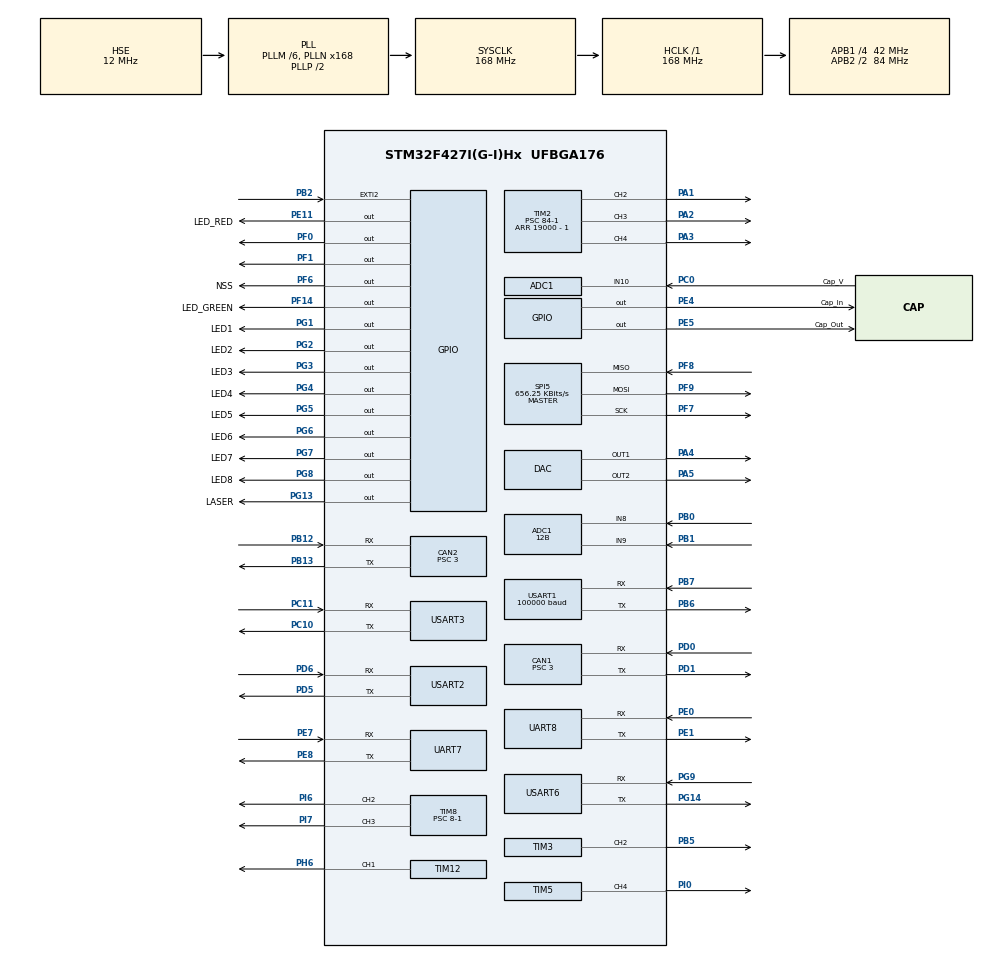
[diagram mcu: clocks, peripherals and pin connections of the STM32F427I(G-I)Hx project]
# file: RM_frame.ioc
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ADC1.Channel-0\#ChannelRegularConversion=ADC_CHANNEL_VREFINT
ADC1.Channel-1\#ChannelRegularConversion=ADC_CHANNEL_8
ADC1.Channel-2\#ChannelRegularConversion=ADC_CHANNEL_9
ADC1.Channel-3\#ChannelRegularConversion=ADC_CHANNEL_10
ADC1.ClockPrescaler=ADC_CLOCK_SYNC_PCLK_DIV4
ADC1.ContinuousConvMode=ENABLE
ADC1.DMAContinuousRequests=ENABLE
ADC1.DataAlign=ADC_DATAALIGN_RIGHT
ADC1.DiscontinuousConvMode=DISABLE
ADC1.EOCSelection=ADC_EOC_SINGLE_CONV
ADC1.EnableAnalogWatchDog=false
ADC1.ExternalTrigConv=ADC_SOFTWARE_START
ADC1.ExternalTrigConvEdge=ADC_EXTERNALTRIGCONVEDGE_NONE
ADC1.InjNumberOfConversion=0
ADC1.NbrOfConversion=4
ADC1.NbrOfConversionFlag=1
ADC1.Rank-0\#ChannelRegularConversion=1
ADC1.Rank-1\#ChannelRegularConversion=2
ADC1.Rank-2\#ChannelRegularConversion=3
ADC1.Rank-3\#ChannelRegularConversion=4
ADC1.Resolution=ADC_RESOLUTION_12B
ADC1.SamplingTime-0\#ChannelRegularConversion=ADC_SAMPLETIME_56CYCLES
ADC1.SamplingTime-1\#ChannelRegularConversion=ADC_SAMPLETIME_56CYCLES
ADC1.SamplingTime-2\#ChannelRegularConversion=ADC_SAMPLETIME_56CYCLES
ADC1.SamplingTime-3\#ChannelRegularConversion=ADC_SAMPLETIME_56CYCLES
ADC1.ScanConvMode=ENABLE
ADC1.master=1
CAN1.BS1=CAN_BS1_9TQ
CAN1.BS2=CAN_BS2_4TQ
CAN1.CalculateTimeBit=1000
CAN1.CalculateTimeQuantum=71.42857142857143
CAN1.Prescaler=3
CAN2.BS1=CAN_BS1_9TQ
CAN2.BS2=CAN_BS2_4TQ
CAN2.CalculateTimeBit=1000
CAN2.CalculateTimeQuantum=71.42857142857143
CAN2.Prescaler=3
Dma.ADC1.8.Direction=DMA_PERIPH_TO_MEMORY
Dma.ADC1.8.FIFOMode=DMA_FIFOMODE_DISABLE
Dma.ADC1.8.Instance=DMA2_Stream0
Dma.ADC1.8.MemDataAlignment=DMA_MDATAALIGN_HALFWORD
Dma.ADC1.8.MemInc=DMA_MINC_ENABLE
Dma.ADC1.8.Mode=DMA_CIRCULAR
Dma.ADC1.8.PeriphDataAlignment=DMA_PDATAALIGN_HALFWORD
Dma.ADC1.8.PeriphInc=DMA_PINC_DISABLE
Dma.ADC1.8.Priority=DMA_PRIORITY_LOW
Dma.Request0=USART3_RX
Dma.Request1=USART2_RX
Dma.Request2=UART7_RX
Dma.Request3=UART8_RX
Dma.Request4=UART8_TX
Dma.Request5=USART6_RX
Dma.Request6=USART6_TX
Dma.Request7=USART1_RX
Dma.Request8=ADC1
Dma.UART7_RX.2.Direction=DMA_PERIPH_TO_MEMORY
Dma.UART7_RX.2.FIFOMode=DMA_FIFOMODE_DISABLE
Dma.UART7_RX.2.Instance=DMA1_Stream3
Dma.UART7_RX.2.MemDataAlignment=DMA_MDATAALIGN_BYTE
Dma.UART7_RX.2.MemInc=DMA_MINC_ENABLE
Dma.UART7_RX.2.Mode=DMA_NORMAL
Dma.UART7_RX.2.PeriphDataAlignment=DMA_PDATAALIGN_BYTE
Dma.UART7_RX.2.PeriphInc=DMA_PINC_DISABLE
Dma.UART7_RX.2.Priority=DMA_PRIORITY_LOW
Dma.UART8_RX.3.Direction=DMA_PERIPH_TO_MEMORY
Dma.UART8_RX.3.FIFOMode=DMA_FIFOMODE_DISABLE
Dma.UART8_RX.3.Instance=DMA1_Stream6
Dma.UART8_RX.3.MemDataAlignment=DMA_MDATAALIGN_BYTE
Dma.UART8_RX.3.MemInc=DMA_MINC_ENABLE
Dma.UART8_RX.3.Mode=DMA_NORMAL
Dma.UART8_RX.3.PeriphDataAlignment=DMA_PDATAALIGN_BYTE
Dma.UART8_RX.3.PeriphInc=DMA_PINC_DISABLE
Dma.UART8_RX.3.Priority=DMA_PRIORITY_LOW
Dma.UART8_TX.4.Direction=DMA_MEMORY_TO_PERIPH
Dma.UART8_TX.4.FIFOMode=DMA_FIFOMODE_DISABLE
Dma.UART8_TX.4.Instance=DMA1_Stream0
Dma.UART8_TX.4.MemDataAlignment=DMA_MDATAALIGN_BYTE
Dma.UART8_TX.4.MemInc=DMA_MINC_ENABLE
Dma.UART8_TX.4.Mode=DMA_NORMAL
Dma.UART8_TX.4.PeriphDataAlignment=DMA_PDATAALIGN_BYTE
Dma.UART8_TX.4.PeriphInc=DMA_PINC_DISABLE
Dma.UART8_TX.4.Priority=DMA_PRIORITY_LOW
Dma.USART1_RX.7.Direction=DMA_PERIPH_TO_MEMORY
Dma.USART1_RX.7.FIFOMode=DMA_FIFOMODE_DISABLE
Dma.USART1_RX.7.Instance=DMA2_Stream2
Dma.USART1_RX.7.MemDataAlignment=DMA_MDATAALIGN_BYTE
Dma.USART1_RX.7.MemInc=DMA_MINC_ENABLE
Dma.USART1_RX.7.Mode=DMA_NORMAL
Dma.USART1_RX.7.PeriphDataAlignment=DMA_PDATAALIGN_BYTE
Dma.USART1_RX.7.PeriphInc=DMA_PINC_DISABLE
Dma.USART1_RX.7.Priority=DMA_PRIORITY_LOW
Dma.USART2_RX.1.Direction=DMA_PERIPH_TO_MEMORY
Dma.USART2_RX.1.FIFOMode=DMA_FIFOMODE_DISABLE
Dma.USART2_RX.1.Instance=DMA1_Stream5
Dma.USART2_RX.1.MemDataAlignment=DMA_MDATAALIGN_BYTE
Dma.USART2_RX.1.MemInc=DMA_MINC_ENABLE
Dma.USART2_RX.1.Mode=DMA_NORMAL
Dma.USART2_RX.1.PeriphDataAlignment=DMA_PDATAALIGN_BYTE
Dma.USART2_RX.1.PeriphInc=DMA_PINC_DISABLE
Dma.USART2_RX.1.Priority=DMA_PRIORITY_LOW
Dma.USART3_RX.0.Direction=DMA_PERIPH_TO_MEMORY
Dma.USART3_RX.0.FIFOMode=DMA_FIFOMODE_DISABLE
Dma.USART3_RX.0.Instance=DMA1_Stream1
Dma.USART3_RX.0.MemDataAlignment=DMA_MDATAALIGN_BYTE
Dma.USART3_RX.0.MemInc=DMA_MINC_ENABLE
Dma.USART3_RX.0.Mode=DMA_NORMAL
Dma.USART3_RX.0.PeriphDataAlignment=DMA_PDATAALIGN_BYTE
Dma.USART3_RX.0.PeriphInc=DMA_PINC_DISABLE
Dma.USART3_RX.0.Priority=DMA_PRIORITY_LOW
Dma.USART6_RX.5.Direction=DMA_PERIPH_TO_MEMORY
Dma.USART6_RX.5.FIFOMode=DMA_FIFOMODE_DISABLE
Dma.USART6_RX.5.Instance=DMA2_Stream1
Dma.USART6_RX.5.MemDataAlignment=DMA_MDATAALIGN_BYTE
Dma.USART6_RX.5.MemInc=DMA_MINC_ENABLE
Dma.USART6_RX.5.Mode=DMA_NORMAL
Dma.USART6_RX.5.PeriphDataAlignment=DMA_PDATAALIGN_BYTE
Dma.USART6_RX.5.PeriphInc=DMA_PINC_DISABLE
Dma.USART6_RX.5.Priority=DMA_PRIORITY_LOW
Dma.USART6_TX.6.Direction=DMA_MEMORY_TO_PERIPH
Dma.USART6_TX.6.FIFOMode=DMA_FIFOMODE_DISABLE
Dma.USART6_TX.6.Instance=DMA2_Stream6
Dma.USART6_TX.6.MemDataAlignment=DMA_MDATAALIGN_BYTE
Dma.USART6_TX.6.MemInc=DMA_MINC_ENABLE
Dma.USART6_TX.6.Mode=DMA_NORMAL
Dma.USART6_TX.6.PeriphDataAlignment=DMA_PDATAALIGN_BYTE
Dma.USART6_TX.6.PeriphInc=DMA_PINC_DISABLE
Dma.USART6_TX.6.Priority=DMA_PRIORITY_LOW
IWDG.Prescaler=IWDG_PRESCALER_32
IWDG.Reload=300
Mcu.Family=STM32F4
Mcu.Name=STM32F427I(G-I)Hx
Mcu.Package=UFBGA176
NVIC.CAN1_RX0_IRQn=true\:0\:0\:true\:false\:true\:true
NVIC.CAN1_TX_IRQn=true\:0\:0\:true\:false\:true\:true
NVIC.CAN2_RX0_IRQn=true\:1\:0\:true\:false\:true\:true
NVIC.CAN2_TX_IRQn=true\:2\:0\:true\:false\:true\:true
NVIC.DMA1_Stream0_IRQn=true\:0\:0\:false\:false\:true\:false
NVIC.DMA1_Stream1_IRQn=true\:0\:0\:false\:false\:true\:false
NVIC.DMA1_Stream3_IRQn=true\:0\:0\:false\:false\:true\:false
NVIC.DMA1_Stream5_IRQn=true\:0\:0\:false\:false\:true\:false
NVIC.DMA1_Stream6_IRQn=true\:0\:0\:false\:false\:true\:false
NVIC.DMA2_Stream0_IRQn=true\:0\:0\:false\:false\:true\:false
NVIC.DMA2_Stream1_IRQn=true\:0\:0\:false\:false\:true\:false
NVIC.DMA2_Stream2_IRQn=true\:0\:0\:false\:false\:true\:false
NVIC.DMA2_Stream6_IRQn=true\:0\:0\:false\:false\:true\:false
NVIC.EXTI2_IRQn=true\:0\:0\:false\:false\:true\:true
NVIC.PriorityGroup=NVIC_PRIORITYGROUP_4
NVIC.TIM1_UP_TIM10_IRQn=true\:4\:0\:true\:false\:true\:true
NVIC.TIM6_DAC_IRQn=true\:3\:0\:true\:false\:true\:true
NVIC.TIM7_IRQn=true\:0\:0\:true\:false\:true\:true
NVIC.UART7_IRQn=true\:4\:0\:true\:false\:true\:true
NVIC.UART8_IRQn=true\:4\:0\:true\:false\:true\:true
NVIC.USART1_IRQn=true\:0\:0\:true\:false\:true\:true
NVIC.USART2_IRQn=true\:0\:0\:false\:false\:true\:true
NVIC.USART3_IRQn=true\:0\:0\:false\:false\:true\:true
NVIC.USART6_IRQn=true\:1\:0\:true\:false\:true\:true
PA1.Signal=S_TIM2_CH2
PA2.Signal=S_TIM2_CH3
PA3.Signal=S_TIM2_CH4
PA4.Signal=COMP_DAC1_group
PA5.Signal=COMP_DAC2_group
PB0.Signal=ADCx_IN8
PB1.Signal=ADCx_IN9
PB12.Mode=Slave
PB12.Signal=CAN2_RX
PB13.Mode=Slave
PB13.Signal=CAN2_TX
PB2/BOOT1.Signal=GPXTI2
PB5.Signal=S_TIM3_CH2
PB6.Mode=Asynchronous
PB6.Signal=USART1_TX
PB7.Mode=Asynchronous
PB7.Signal=USART1_RX
PC0.GPIO_Label=Cap_V
PC0.Signal=ADCx_IN10
PC10.Mode=Asynchronous
PC10.Signal=USART3_TX
PC11.Mode=Asynchronous
PC11.Signal=USART3_RX
PC14/OSC32_IN.Mode=LSE-External-Oscillator
PC14/OSC32_IN.Signal=RCC_OSC32_IN
PC15/OSC32_OUT.Mode=LSE-External-Oscillator
PC15/OSC32_OUT.Signal=RCC_OSC32_OUT
PD0.Mode=Master
PD0.Signal=CAN1_RX
PD1.Mode=Master
PD1.Signal=CAN1_TX
PD5.Mode=Asynchronous
PD5.Signal=USART2_TX
PD6.Mode=Asynchronous
PD6.Signal=USART2_RX
PE0.Mode=Asynchronous
PE0.Signal=UART8_RX
PE1.Mode=Asynchronous
PE1.Signal=UART8_TX
PE11.GPIO_Label=LED_RED
PE11.Signal=GPIO_Output
PE4.GPIO_Label=Cap_In
PE4.GPIO_PuPd=GPIO_PULLDOWN
PE4.GPIO_Speed=GPIO_SPEED_FREQ_LOW
PE4.PinState=GPIO_PIN_RESET
PE4.Signal=GPIO_Output
PE5.GPIO_Label=Cap_Out
PE5.Signal=GPIO_Output
PE7.Mode=Asynchronous
PE7.Signal=UART7_RX
PE8.Mode=Asynchronous
PE8.Signal=UART7_TX
PF0.Signal=GPIO_Output
PF1.GPIO_PuPd=GPIO_NOPULL
PF1.PinState=GPIO_PIN_SET
PF1.Signal=GPIO_Output
PF14.GPIO_Label=LED_GREEN
PF14.Signal=GPIO_Output
PF6.GPIO_Label=NSS
PF6.Signal=GPIO_Output
PF7.Mode=Full_Duplex_Master
PF7.Signal=SPI5_SCK
PF8.Mode=Full_Duplex_Master
PF8.Signal=SPI5_MISO
PF9.Mode=Full_Duplex_Master
PF9.Signal=SPI5_MOSI
PG1.GPIO_Label=LED1
PG1.Signal=GPIO_Output
PG13.GPIO_Label=LASER
PG13.Signal=GPIO_Output
PG14.Mode=Asynchronous
PG14.Signal=USART6_TX
PG2.GPIO_Label=LED2
PG2.Signal=GPIO_Output
PG3.GPIO_Label=LED3
PG3.Signal=GPIO_Output
PG4.GPIO_Label=LED4
PG4.Signal=GPIO_Output
PG5.GPIO_Label=LED5
PG5.Signal=GPIO_Output
PG6.GPIO_Label=LED6
PG6.Signal=GPIO_Output
PG7.GPIO_Label=LED7
PG7.Signal=GPIO_Output
PG8.GPIO_Label=LED8
PG8.Signal=GPIO_Output
PG9.Mode=Asynchronous
PG9.Signal=USART6_RX
PH0/OSC_IN.Mode=HSE-External-Oscillator
PH0/OSC_IN.Signal=RCC_OSC_IN
PH1/OSC_OUT.Mode=HSE-External-Oscillator
PH1/OSC_OUT.Signal=RCC_OSC_OUT
PH6.Signal=S_TIM12_CH1
PI0.Signal=S_TIM5_CH4
PI6.Signal=S_TIM8_CH2
PI7.Signal=S_TIM8_CH3
ProjectManager.HeapSize=0x200
ProjectManager.StackSize=0x400
ProjectManager.TargetToolchain=MDK-ARM V5
RCC.48MHZClocksFreq_Value=84000000
RCC.AHBFreq_Value=168000000
RCC.APB1CLKDivider=RCC_HCLK_DIV4
RCC.APB1Freq_Value=42000000
RCC.APB1TimFreq_Value=84000000
RCC.APB2CLKDivider=RCC_HCLK_DIV2
RCC.APB2Freq_Value=84000000
RCC.APB2TimFreq_Value=168000000
RCC.CortexFreq_Value=168000000
RCC.HCLKFreq_Value=168000000
RCC.HSE_VALUE=12000000
RCC.HSI_VALUE=16000000
RCC.PLLM=6
RCC.PLLN=168
RCC.PLLSourceVirtual=RCC_PLLSOURCE_HSE
RCC.SYSCLKFreq_VALUE=168000000
RCC.SYSCLKSource=RCC_SYSCLKSOURCE_PLLCLK
RCC.VCOOutputFreq_Value=336000000
SH.ADCx_IN10.0=ADC1_IN10,IN10
SH.ADCx_IN8.0=ADC1_IN8,IN8
SH.ADCx_IN9.0=ADC1_IN9,IN9
SH.COMP_DAC1_group.0=DAC_OUT1,DAC_OUT1
SH.COMP_DAC2_group.0=DAC_OUT2,DAC_OUT2
SH.S_TIM12_CH1.0=TIM12_CH1,PWM Generation1 CH1
SH.S_TIM2_CH2.0=TIM2_CH2,PWM Generation2 CH2
SH.S_TIM2_CH3.0=TIM2_CH3,PWM Generation3 CH3
SH.S_TIM2_CH4.0=TIM2_CH4,PWM Generation4 CH4
SH.S_TIM3_CH2.0=TIM3_CH2,PWM Generation2 CH2
SH.S_TIM5_CH4.0=TIM5_CH4,PWM Generation4 CH4
SH.S_TIM8_CH2.0=TIM8_CH2,PWM Generation2 CH2
SH.S_TIM8_CH3.0=TIM8_CH3,PWM Generation3 CH3
SPI5.BaudRatePrescaler=SPI_BAUDRATEPRESCALER_128
SPI5.CalculateBaudRate=656.25 KBits/s
SPI5.Direction=SPI_DIRECTION_2LINES
SPI5.Mode=SPI_MODE_MASTER
SPI5.VirtualType=VM_MASTER
TIM10.Period=10000
TIM10.Prescaler=168-1
TIM12.Channel-PWM\ Generation1\ CH1=TIM_CHANNEL_1
TIM12.Period=2500-1
TIM12.Prescaler=84-1
TIM12.Pulse-PWM\ Generation1\ CH1=1000
TIM2.Channel-PWM\ Generation2\ CH2=TIM_CHANNEL_2
TIM2.Channel-PWM\ Generation3\ CH3=TIM_CHANNEL_3
TIM2.Channel-PWM\ Generation4\ CH4=TIM_CHANNEL_4
TIM2.Period=19000 - 1
TIM2.Prescaler=84-1
TIM3.Channel-PWM\ Generation2\ CH2=TIM_CHANNEL_2
TIM5.Channel-PWM\ Generation4\ CH4=TIM_CHANNEL_4
TIM5.Period=1000000
TIM5.Prescaler=84-1
TIM5.Pulse-PWM\ Generation4\ CH4=1000
TIM6.Period=1000
TIM6.Prescaler=84-1
TIM7.Period=1000
TIM7.Prescaler=84-1
TIM8.Channel-PWM\ Generation2\ CH2=TIM_CHANNEL_2
TIM8.Channel-PWM\ Generation3\ CH3=TIM_CHANNEL_3
TIM8.Period=42000-1
TIM8.Prescaler=8-1
UART7.VirtualMode=Asynchronous
UART8.VirtualMode=Asynchronous
USART1.BaudRate=100000
USART1.Mode=MODE_RX
USART1.Parity=PARITY_EVEN
USART1.VirtualMode=VM_ASYNC
USART1.WordLength=WORDLENGTH_9B
USART2.VirtualMode=VM_ASYNC
USART3.VirtualMode=VM_ASYNC
USART6.VirtualMode=VM_ASYNC
VP_ADC1_Vref_Input.Mode=IN-Vrefint
VP_IWDG_VS_IWDG.Mode=IWDG_Activate
VP_TIM10_VS_ClockSourceINT.Mode=Enable_Timer
VP_TIM12_VS_ClockSourceINT.Mode=Internal
VP_TIM2_VS_ClockSourceINT.Mode=Internal
VP_TIM6_VS_ClockSourceINT.Mode=Enable_Timer
VP_TIM7_VS_ClockSourceINT.Mode=Enable_Timer
board=RM_frame

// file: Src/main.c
/**
  ******************************************************************************
  * File Name          : main.c
  * Description        : Main program body
  ******************************************************************************
  ** This notice applies to any and all portions of this file
  * that are not between comment pairs USER CODE BEGIN and
  * USER CODE END. Other portions of this file, whether
  * inserted by the user or by software development tools
  * are owned by their respective copyright owners.
  *
  * COPYRIGHT(c) 2019 STMicroelectronics
  *
  * Redistribution and use in source and binary forms, with or without modification,
  * are permitted provided that the following conditions are met:
  *   1. Redistributions of source code must retain the above copyright notice,
  *      this list of conditions and the following disclaimer.
  *   2. Redistributions in binary form must reproduce the above copyright notice,
  *      this list of conditions and the following disclaimer in the documentation
  *      and/or other materials provided with the distribution.
  *   3. Neither the name of STMicroelectronics nor the names of its contributors
  *      may be used to endorse or promote products derived from this software
  *      without specific prior written permission.
  *
  * THIS SOFTWARE IS PROVIDED BY THE COPYRIGHT HOLDERS AND CONTRIBUTORS "AS IS"
  * AND ANY EXPRESS OR IMPLIED WARRANTIES, INCLUDING, BUT NOT LIMITED TO, THE
  * IMPLIED WARRANTIES OF MERCHANTABILITY AND FITNESS FOR A PARTICULAR PURPOSE ARE
  * DISCLAIMED. IN NO EVENT SHALL THE COPYRIGHT HOLDER OR CONTRIBUTORS BE LIABLE
  * FOR ANY DIRECT, INDIRECT, INCIDENTAL, SPECIAL, EXEMPLARY, OR CONSEQUENTIAL
  * DAMAGES (INCLUDING, BUT NOT LIMITED TO, PROCUREMENT OF SUBSTITUTE GOODS OR
  * SERVICES; LOSS OF USE, DATA, OR PROFITS; OR BUSINESS INTERRUPTION) HOWEVER
  * CAUSED AND ON ANY THEORY OF LIABILITY, WHETHER IN CONTRACT, STRICT LIABILITY,
  * OR TORT (INCLUDING NEGLIGENCE OR OTHERWISE) ARISING IN ANY WAY OUT OF THE USE
  * OF THIS SOFTWARE, EVEN IF ADVISED OF THE POSSIBILITY OF SUCH DAMAGE.
  *
  ******************************************************************************
  */

#include "main.h"
#include "stm32f4xx_hal.h"
#include "adc.h"
#include "can.h"
#include "dac.h"
#include "dma.h"
#include "iwdg.h"
#include "spi.h"
#include "tim.h"
#include "usart.h"
#include "gpio.h"

/* USER CODE BEGIN Includes */
#include "includes.h"
/* USER CODE END Includes */

/* USER CODE BEGIN PV */
uint32_t ADC_Value[160];
/* Private variables ---------------------------------------------------------*/

/* USER CODE END PV */

void SystemClock_Config(void);

/* USER CODE BEGIN PFP */
/* Private function prototypes -----------------------------------------------*/

/* USER CODE END PFP */

int main(void)
{

  /* MCU Configuration----------------------------------------------------------*/

  /* Reset of all peripherals, Initializes the Flash interface and the Systick. */
  HAL_Init();

  /* Configure the system clock */
  SystemClock_Config();

  /* USER CODE BEGIN SysInit */
	HAL_NVIC_DisableIRQ(USART2_IRQn);
	HAL_NVIC_DisableIRQ(USART3_IRQn);
	HAL_NVIC_DisableIRQ(USART6_IRQn);
	HAL_NVIC_DisableIRQ(DMA1_Stream1_IRQn);
	HAL_NVIC_DisableIRQ(DMA1_Stream5_IRQn);
	HAL_NVIC_DisableIRQ(DMA2_Stream1_IRQn);

	HAL_NVIC_DisableIRQ(CAN1_RX0_IRQn);
	HAL_NVIC_DisableIRQ(CAN2_RX0_IRQn);
	HAL_NVIC_DisableIRQ(USART1_IRQn);
	HAL_NVIC_DisableIRQ(DMA2_Stream2_IRQn);
	HAL_NVIC_DisableIRQ(TIM7_IRQn);
	HAL_NVIC_DisableIRQ(TIM6_DAC_IRQn);
	#ifdef DEBUG_MODE
		HAL_NVIC_DisableIRQ(TIM1_UP_TIM10_IRQn);
	#endif
  /* USER CODE END SysInit */

  /* Initialize all configured peripherals */
  MX_GPIO_Init();
  MX_DMA_Init();
  MX_CAN1_Init();
  MX_CAN2_Init();
  MX_SPI5_Init();
  MX_USART1_UART_Init();
  MX_TIM6_Init();
  MX_TIM12_Init();
  MX_USART6_UART_Init();
  MX_TIM7_Init();
  MX_TIM10_Init();
  MX_TIM2_Init();
  //MX_IWDG_Init();
  MX_TIM5_Init();
  MX_USART3_UART_Init();
  MX_UART7_Init();
  MX_ADC1_Init();
  MX_UART8_Init();
  MX_USART2_UART_Init();
  MX_TIM8_Init();
  MX_TIM3_Init();
  MX_DAC_Init();

  /* USER CODE BEGIN 2 */
	/*****陀螺仪初始化*****/
	mpu_device_init();
	//init_quaternion();
	/*****陀螺仪初始化结束*****/
	MX_IWDG_Init();							//Cube配置完记得注释掉上面自动生成的看门狗初始化函数
	//24V直流电源配置
	ENABLE_DC24V_2();
	ENABLE_DC24V_3();
	ENABLE_DC24V_4();
	DISABLE_DC24V_5();
	//各模块初始化
	InitRemoteControl();
	Motor_ID_Setting();
	for(int i=0;i<8;i++) {InitMotor(can1[i]);InitMotor(can2[i]);}
	InitPWM();
	InitCanReception();
	//InitGyroUart();
	InitJudgeUart();
	#ifdef USE_AUTOAIM
	InitAutoAim();
	#endif
	#ifdef DEBUG_MODE
	ctrlUartInit();
	//时间中断
	HAL_TIM_Base_Start_IT(&htim10);
	#endif
	HAL_TIM_Base_Start_IT(&htim6);
	HAL_TIM_Base_Start_IT(&htim7);
	HAL_TIM_PWM_Start(&htim2, TIM_CHANNEL_3);
	HAL_TIM_PWM_Start(&htim2, TIM_CHANNEL_4);

	//ADC
	//HAL_ADC_Start_DMA(&hadc1,(uint32_t*)&ADC_Value,160);

	//时间中断
	HAL_NVIC_EnableIRQ(CAN1_RX0_IRQn);
	HAL_NVIC_EnableIRQ(CAN2_RX0_IRQn);
	HAL_NVIC_EnableIRQ(USART1_IRQn);
	HAL_NVIC_EnableIRQ(DMA2_Stream2_IRQn);
	HAL_NVIC_EnableIRQ(TIM6_DAC_IRQn);
	HAL_NVIC_EnableIRQ(TIM7_IRQn);
	#ifdef DEBUG_MODE
		HAL_NVIC_EnableIRQ(TIM1_UP_TIM10_IRQn);
	#endif
	__HAL_UART_ENABLE_IT(&UPPER_UART, UART_IT_IDLE);

	Cap_Init();
  /* USER CODE END 2 */

  /* Infinite loop */
  while (1)
  {

  }

}

/** System Clock Configuration
*/
void SystemClock_Config(void)
{

  RCC_OscInitTypeDef RCC_OscInitStruct;
  RCC_ClkInitTypeDef RCC_ClkInitStruct;

    /**Configure the main internal regulator output voltage
    */
  __HAL_RCC_PWR_CLK_ENABLE();

  __HAL_PWR_VOLTAGESCALING_CONFIG(PWR_REGULATOR_VOLTAGE_SCALE1);

    /**Initializes the CPU, AHB and APB busses clocks
    */
  RCC_OscInitStruct.OscillatorType = RCC_OSCILLATORTYPE_LSI|RCC_OSCILLATORTYPE_HSE;
  RCC_OscInitStruct.HSEState = RCC_HSE_ON;
  RCC_OscInitStruct.LSIState = RCC_LSI_ON;
  RCC_OscInitStruct.PLL.PLLState = RCC_PLL_ON;
  RCC_OscInitStruct.PLL.PLLSource = RCC_PLLSOURCE_HSE;
  RCC_OscInitStruct.PLL.PLLM = 6;
  RCC_OscInitStruct.PLL.PLLN = 168;
  RCC_OscInitStruct.PLL.PLLP = RCC_PLLP_DIV2;
  RCC_OscInitStruct.PLL.PLLQ = 4;
  if (HAL_RCC_OscConfig(&RCC_OscInitStruct) != HAL_OK)
  {
    _Error_Handler(__FILE__, __LINE__);
  }

    /**Initializes the CPU, AHB and APB busses clocks
    */
  RCC_ClkInitStruct.ClockType = RCC_CLOCKTYPE_HCLK|RCC_CLOCKTYPE_SYSCLK
                              |RCC_CLOCKTYPE_PCLK1|RCC_CLOCKTYPE_PCLK2;
  RCC_ClkInitStruct.SYSCLKSource = RCC_SYSCLKSOURCE_PLLCLK;
  RCC_ClkInitStruct.AHBCLKDivider = RCC_SYSCLK_DIV1;
  RCC_ClkInitStruct.APB1CLKDivider = RCC_HCLK_DIV4;
  RCC_ClkInitStruct.APB2CLKDivider = RCC_HCLK_DIV2;

  if (HAL_RCC_ClockConfig(&RCC_ClkInitStruct, FLASH_LATENCY_5) != HAL_OK)
  {
    _Error_Handler(__FILE__, __LINE__);
  }

    /**Configure the Systick interrupt time
    */
  HAL_SYSTICK_Config(HAL_RCC_GetHCLKFreq()/1000);

    /**Configure the Systick
    */
  HAL_SYSTICK_CLKSourceConfig(SYSTICK_CLKSOURCE_HCLK);

  /* SysTick_IRQn interrupt configuration */
  HAL_NVIC_SetPriority(SysTick_IRQn, 0, 0);
}

void _Error_Handler(char * file, int line)
{
  while(1)
  {
  }
}

/************************ (C) COPYRIGHT STMicroelectronics *****END OF FILE****/
